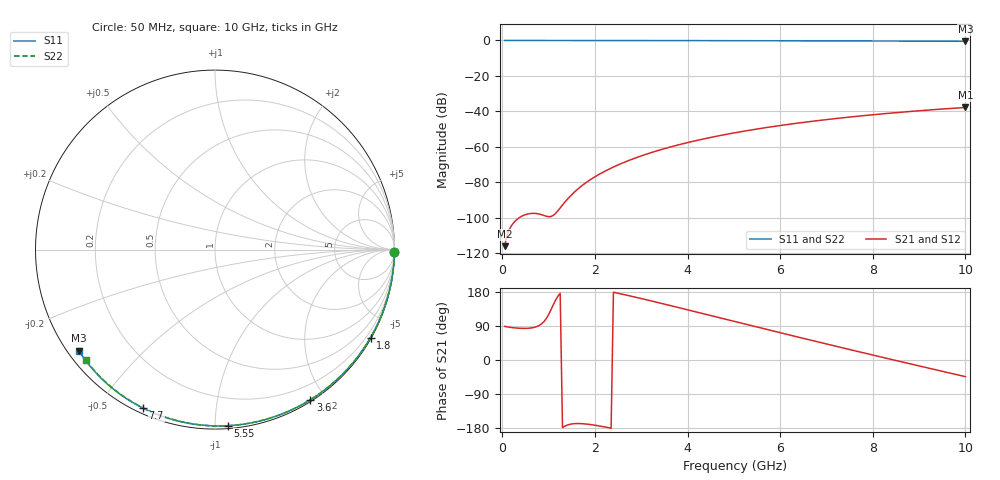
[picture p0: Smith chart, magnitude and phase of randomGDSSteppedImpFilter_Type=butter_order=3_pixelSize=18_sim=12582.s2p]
! freq	dB(S11)	phase(S11)	dB(S12)	phase(S12)
!  dB(S21)	phase(S21)	dB(S22)	phase(S22)
!S-par simulation data
#  GHz  S  DB  R 50
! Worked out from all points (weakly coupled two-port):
!   200 points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, 50 MHz to 10 GHz, reference 50 ohm
!   highest |S21| = -37.74 dB at 10 GHz (marker M1); lowest = -115.9 dB at 50 MHz (marker M2)
!   lowest |S11| = -0.5 dB at 10 GHz (marker M3), VSWR 35.68, Z = 1.55 - j16.5 ohm
!   |S11| at or under -10 dB: nowhere
!   |S22| runs from -0.5 to 0.0 dB; largest |S21 - S12| = 0
!   S11 on the Smith chart (normalised r, x): 50 MHz: open; 1.8 GHz: 0.03, -3.80; 3.6 GHz: 0.02, -1.82; 5.55 GHz: 0.02, -1.08; 7.7 GHz: 0.02, -0.64; 10 GHz: 0.03, -0.33
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0.05  -0.00 -0.8  -115.90 88.8  -115.90 88.8  -0.00 -0.8
0.45  -0.01 -7.5  -98.64 83.4  -98.64 83.4  -0.01 -7.3
0.9  -0.02 -14.9  -98.61 101.4  -98.61 101.4  -0.02 -14.4
1.3  -0.03 -21.4  -92.70 -178.5  -92.70 -178.5  -0.03 -20.8
1.75  -0.04 -28.7  -81.20 -168.3  -81.20 -168.3  -0.04 -27.8
1.8  -0.04 -29.5  -80.24 -168.8  -80.24 -168.8  -0.04 -28.6
2.15  -0.05 -35.1  -74.58 -175.2  -74.58 -175.2  -0.04 -34.0
2.3  -0.05 -37.5  -72.55 -178.7  -72.55 -178.7  -0.05 -36.3
2.5  -0.05 -40.6  -70.12 176.1  -70.12 176.1  -0.05 -39.4
2.9  -0.06 -46.9  -65.96 165.1  -65.96 165.1  -0.06 -45.4
3.4  -0.07 -54.5  -61.71 150.5  -61.71 150.5  -0.07 -52.9
3.6  -0.08 -57.6  -60.22 144.5  -60.22 144.5  -0.08 -55.8
3.9  -0.09 -62.1  -58.18 135.5  -58.18 135.5  -0.08 -60.2
4.3  -0.10 -68.0  -55.75 123.4  -55.75 123.4  -0.09 -66.0
5.05  -0.12 -78.8  -51.88 100.7  -51.88 100.7  -0.12 -76.5
5.55  -0.14 -85.8  -49.69 85.6  -49.69 85.6  -0.14 -83.3
6.1  -0.17 -93.3  -47.56 69.1  -47.56 69.1  -0.16 -90.6
6.7  -0.20 -101.3  -45.51 51.2  -45.51 51.2  -0.19 -98.5
7.7  -0.26 -114.4  -42.62 21.8  -42.62 21.8  -0.25 -111.2
8.35  -0.32 -122.7  -41.02 3.0  -41.02 3.0  -0.31 -119.3
9.2  -0.40 -133.4  -39.20 -21.3  -39.20 -21.3  -0.38 -129.7
10  -0.49 -143.5  -37.74 -43.9  -37.74 -43.9  -0.47 -139.4
